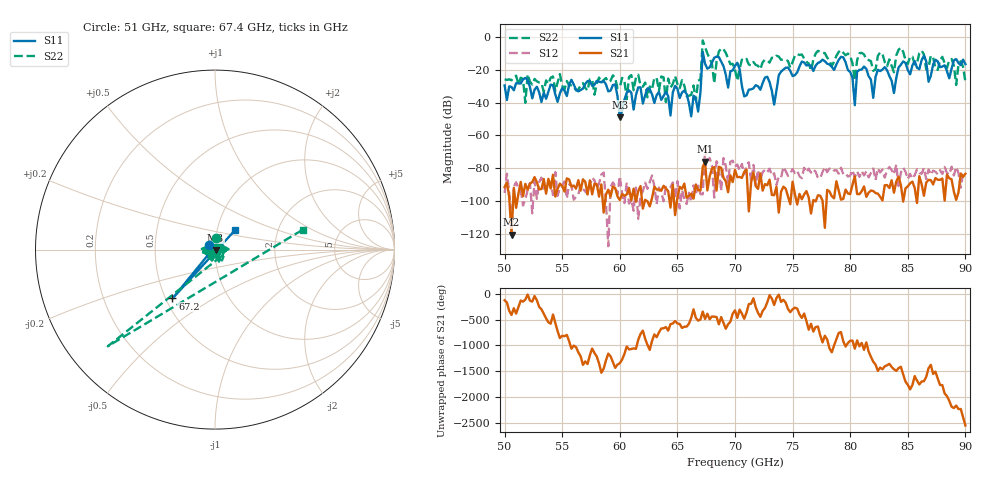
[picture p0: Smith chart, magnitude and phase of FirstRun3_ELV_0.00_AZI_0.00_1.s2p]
! 11/24/2026 3:27:55 PM
! C:\ANRITSUVNA\TEMP\TEMP.S2P
! CHANNEL.1
! TR.MEASUREMENT
! RAW.DATA
# HZ S RI R 50.0
! FREQ.HZ  S11RE  S11IM  S21RE  S21IM  S12RE  S12IM  S22RE  S22IM
!; PortSelection: Port_12
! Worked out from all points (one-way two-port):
!   201 points, 50 GHz to 90 GHz, reference 50 ohm
!   highest |S21| = -76.09 dB at 67.4 GHz (marker M1); lowest = -120.7 dB at 50.6 GHz (marker M2)
!   lowest |S11| = -49.0 dB at 60 GHz (marker M3), VSWR 1.01, Z = 50.3 - j0.156 ohm
!   |S11| at or under -10 dB: start of sweep to 67.19 GHz; 67.23 GHz to end of sweep
!   |S22| runs from -40.0 to -1.9 dB; largest |S21 - S12| = 0.00053
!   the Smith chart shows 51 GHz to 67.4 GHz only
!   S11 on the Smith chart (normalised r, x): 51 GHz: 0.94, +0.05; 67.2 GHz: 0.54, -0.34; 67.4 GHz: 1.22, +0.27
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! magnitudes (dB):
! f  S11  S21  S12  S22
! 50 GHz  -29.4  -91.6  -95.2  -25.6
! 50.6 GHz  -30.4  -120.7  -115.6  -26.2
! 51 GHz  -28.0  -104.2  -88.6  -23.4
! 51.8 GHz  -24.8  -89.6  -98.7  -40.0
! 56.8 GHz  -31.4  -86.8  -92.7  -28.0
! 59.6 GHz  -28.8  -92.1  -91.1  -25.0
! 60 GHz  -49.0  -99.5  -84.9  -30.5
! 63.4 GHz  -33.4  -93.0  -91.9  -32.6
! 66.8 GHz  -45.4  -93.4  -90.7  -26.4
! 67.2 GHz  -8.9  -79.2  -95.9  -1.9
! 67.4 GHz  -16.1  -76.1  -67.8  -6.0
! 68.2 GHz  -12.5  -79.3  -98.0  -28.1
! 68.8 GHz  -14.8  -79.8  -94.0  -6.7
! 70 GHz  -17.4  -81.1  -79.0  -19.9
! 73.4 GHz  -41.1  -96.5  -83.1  -12.7
! 74.2 GHz  -19.7  -91.3  -79.2  -13.5
! 76.8 GHz  -20.6  -99.5  -80.9  -13.7
! 79.4 GHz  -12.2  -98.8  -83.7  -9.4
! 80.4 GHz  -41.5  -85.0  -85.5  -26.3
! 80.6 GHz  -21.0  -95.8  -82.0  -14.0
! 83.4 GHz  -23.6  -92.1  -79.3  -13.5
! 90 GHz  -16.4  -83.4  -81.8  -27.3
